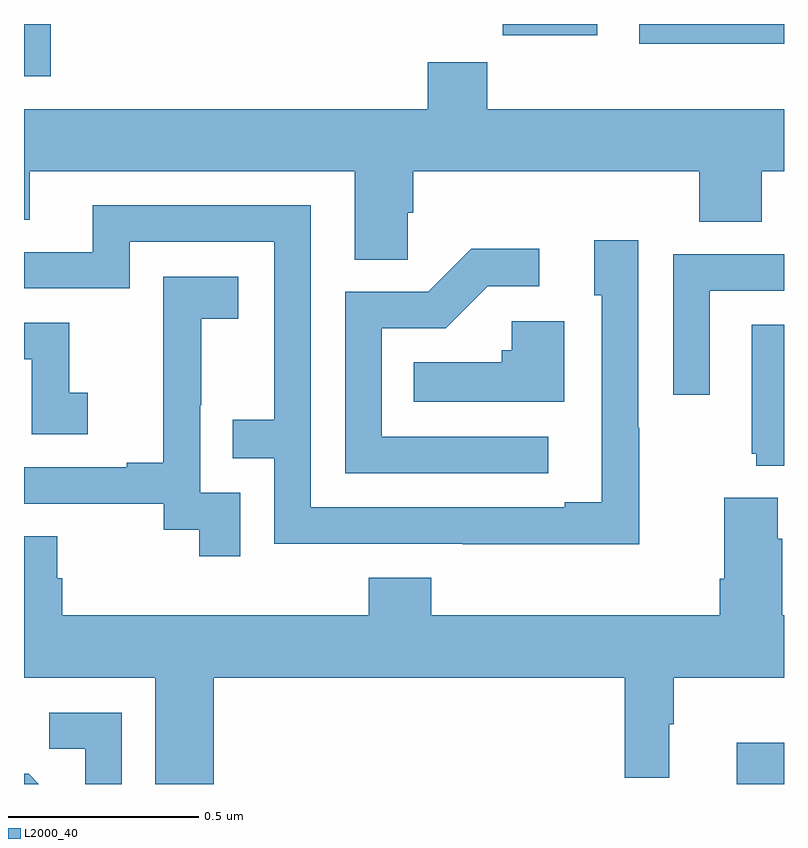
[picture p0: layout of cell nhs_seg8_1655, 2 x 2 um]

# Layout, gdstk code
import gdstk
lib = gdstk.Library(unit=1e-6, precision=1e-09)
def R(c, l, rs):  # rectangles x0, y0, x1, y1
    for r in rs: c.add(gdstk.rectangle(r[:2], r[2:], *l))
def P(c, l, *ps):  # polygons
    for p in ps: c.add(gdstk.Polygon(p, *l))
L2000_40 = (2000, 40)

nhs_seg8_1655 = lib.new_cell('nhs_seg8_1655')
R(nhs_seg8_1655, L2000_40, [(134.876,1102.9,135,1103.008), (133,1104.762,133.07,1104.9), (134.619,1104.848,135,1104.9), (134.26,1104.87,134.509,1104.9)])
P(nhs_seg8_1655, L2000_40, [(134.01,1104.403),(134.024,1104.403),(134.024,1104.512),(134.777,1104.512),(134.777,1104.379),(134.942,1104.379),(134.942,1104.512),(135,1104.512),(135,1104.676),(134.219,1104.676),(134.219,1104.8),(134.063,1104.8),(134.063,1104.676),(133,1104.676),(133,1104.385),(133.015,1104.385),(133.015,1104.512),(133.871,1104.512),(133.871,1104.28),(134.01,1104.28)],
  [(134.619,1103.837),(134.616,1103.837),(134.616,1104.331),(134.501,1104.331),(134.501,1104.186),(134.52,1104.186),(134.52,1103.641),(134.423,1103.641),(134.423,1103.628),(133.755,1103.628),(133.755,1104.423),(133.181,1104.423),(133.181,1104.3),(133,1104.3),(133,1104.204),(133.278,1104.204),(133.278,1104.327),(133.659,1104.327),(133.659,1103.858),(133.549,1103.858),(133.549,1103.757),(133.659,1103.757),(133.659,1103.532),(134.155,1103.532),(134.155,1103.531),(134.619,1103.531)],
  [(134.38,1103.814),(133.941,1103.814),(133.941,1104.099),(134.11,1104.099),(134.221,1104.21),(134.356,1104.21),(134.356,1104.308),(134.177,1104.308),(134.064,1104.195),(133.845,1104.195),(133.845,1103.718),(134.38,1103.718)],
  [(134.805,1104.198),(135,1104.198),(135,1104.294),(134.709,1104.294),(134.709,1103.925),(134.805,1103.925)],
  [(133.569,1103.667),(133.464,1103.667),(133.464,1103.897),(133.466,1103.897),(133.466,1104.125),(133.564,1104.125),(133.564,1104.235),(133.366,1104.235),(133.366,1104.029),(133.367,1104.029),(133.367,1103.746),(133.271,1103.746),(133.271,1103.733),(133,1103.733),(133,1103.637),(133.368,1103.637),(133.368,1103.569),(133.461,1103.569),(133.461,1103.499),(133.569,1103.499)],
  [(134.422,1104.118),(134.283,1104.118),(134.283,1104.042),(134.257,1104.042),(134.257,1104.01),(134.026,1104.01),(134.026,1103.906),(134.422,1103.906)],
  [(133.168,1103.929),(133.119,1103.929),(133.119,1104.114),(133,1104.114),(133,1104.018),(133.02,1104.018),(133.02,1103.82),(133.168,1103.82)],
  [(135,1104.109),(134.915,1104.109),(134.915,1103.769),(134.927,1103.769),(134.927,1103.738),(135,1103.738)],
  [(133.499,1103.18),(134.581,1103.18),(134.581,1102.917),(134.698,1102.917),(134.698,1103.057),(134.71,1103.057),(134.71,1103.18),(135,1103.18),(135,1103.344),(134.996,1103.344),(134.996,1103.546),(134.983,1103.546),(134.983,1103.653),(134.843,1103.653),(134.843,1103.44),(134.831,1103.44),(134.831,1103.344),(134.072,1103.344),(134.072,1103.443),(133.907,1103.443),(133.907,1103.344),(133.1,1103.344),(133.1,1103.442),(133.087,1103.442),(133.087,1103.552),(133,1103.552),(133,1103.18),(133.346,1103.18),(133.346,1102.9),(133.499,1102.9)],
  [(133.257,1103.088),(133.066,1103.088),(133.066,1102.993),(133.161,1102.993),(133.161,1102.9),(133.257,1102.9)],
  [(133.012,1102.927),(133,1102.927),(133,1102.9),(133.039,1102.9)])

lib.write_gds('nhs_seg8_1655.gds')
